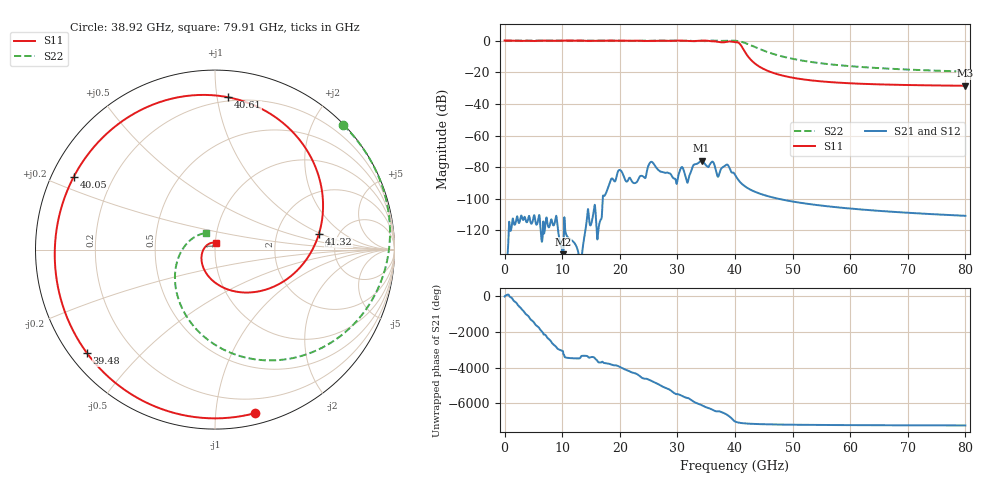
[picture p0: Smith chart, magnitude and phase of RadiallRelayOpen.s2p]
# Hz S DB R 50
!Touchstone multiport model file <C:\work\PySI\TestSignalIntegrity\OysterSimulation\ResampledSimbeor\RadiallRelayOpen.s2p>
!Created on 22 Aug 18, at 17:55:35.
!Created with Simbeor THz 2018.01(64bit) of Simberian Inc. built on Jul 20 2018
!Output from MultiportParameters of Simbeor.
!Multiport parameters: DataOrigin=Simulation DataOriginName="Project(1).RadiallRelayOpen_resampled.LNS"
!RESAMPLED_RCM: Max_RMS_Error=0.00625252; FrqLow=0; FrqHigh=4e+10; MaxTimeResolution=1.25e-11; PassivityState=1; ReciprocityState=1; DataSource="°Ðl°n"
!RATIONAL COMPACTOR: Precision: Normal; Extract Delay: ON; Extrapolate to DC: ON; Extrapolate to Infinity: OFF; Enforce Passivity: ON; Enforce Reciprocity: ON; Band Limit Factor: 1; Auto-Adjust Config: OFF
!Uncomment the following lines with keywords in square brakets to support IBIS forum specification 2.0.
![Version] 2.0 !This line should be the first in file, preceeding the line starting with #.
![Number of Ports] 2
![Number of Frequencies] 8001
![Two-Port Data Order] 21_12
![Reference] 50 50
!!!!Multiport descriptor profile: InputCount=2 TotalPortCount=2
!DescriptorOutline={DescriptorType=SMatrix InputSpace=Terminal NormalizationType=CommonZo NormalizationCommonZo=50 Ohm OutputFormat=DBMagnitudeAngle}
!InputProfile={Name="IO1" IsTLineInput=False InputNumber=1 PortCount=1 FirstPortNumber=1 InputSpace=Terminal BlockType=SBlock NormalizationType=CommonZo Zo=50}
!InputProfile={Name="IO2" IsTLineInput=False InputNumber=2 PortCount=1 FirstPortNumber=2 InputSpace=Terminal BlockType=SBlock NormalizationType=CommonZo Zo=50}
!!!Global port number to input_name/local_port_number correspondence:
!Port 1 -> "IO1"/local_port_1 (terminal)
!Port 2 -> "IO2"/local_port_1 (terminal)
!!!!End of descriptor profile.
!Frequency Hz 20.0*log(|S[1,1]|) arg(S[1,1]) 20.0*log(|S[2,1]|) arg(S[2,1]) 20.0*log(|S[1,2]|) arg(S[1,2]) 20.0*log(|S[2,2]|) arg(S[2,2])
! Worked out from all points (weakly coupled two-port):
!   8000 points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, 10 MHz to 80 GHz, reference 50 ohm
!   highest |S21| = -75.91 dB at 34.2 GHz (marker M1); lowest = -151.2 dB at 10.17 GHz (marker M2)
!   lowest |S11| = -28.6 dB at 80 GHz (marker M3), VSWR 1.08, Z = 50.4 + j3.73 ohm
!   |S11| at or under -10 dB: 42.26 GHz to end of sweep
!   |S22| runs from -19.6 to 0.1 dB; largest |S21 - S12| = 7e-18
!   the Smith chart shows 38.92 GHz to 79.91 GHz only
!   S11 on the Smith chart (normalised r, x): 38.92 GHz: 0.08, -1.27; 39.48 GHz: 0.05, -0.35; 40.05 GHz: 0.06, +0.24; 40.61 GHz: 0.17, +1.08; 41.32 GHz: 3.55, +0.94; 79.91 GHz: 1.01, +0.07
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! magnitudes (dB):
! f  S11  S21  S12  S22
! 10 MHz  0.0  -151.0  -151.0  0.0
! 10.17 GHz  0.0  -151.2  -151.2  0.0
! 13.35 GHz  0.0  -139.6  -139.6  -0.1
! 24.49 GHz  -0.3  -86.5  -86.5  -0.1
! 25.51 GHz  -0.3  -76.6  -76.6  -0.1
! 26.68 GHz  -0.1  -81.7  -81.7  0.0
! 32.25 GHz  -0.3  -84.0  -84.0  -0.1
! 34.2 GHz  -0.1  -75.9  -75.9  -0.1
! 35.18 GHz  -0.1  -79.5  -79.5  -0.2
! 36.02 GHz  -0.4  -76.6  -76.6  0.0
! 38.92 GHz  -0.6  -79.5  -79.5  0.0
! 39.48 GHz  -0.8  -83.4  -83.4  0.0
! 40.01 GHz  -1.1  -84.8  -84.8  -0.1
! 40.05 GHz  -1.1  -85.0  -85.0  -0.1
! 40.61 GHz  -1.4  -88.2  -88.2  -0.4
! 41.32 GHz  -4.7  -91.0  -91.0  -1.0
! 42.99 GHz  -13.0  -94.8  -94.8  -3.4
! 45.22 GHz  -18.4  -97.8  -97.8  -6.7
! 53.34 GHz  -25.2  -103.5  -103.5  -13.6
! 66.67 GHz  -27.8  -108.0  -108.0  -17.8
! 79.91 GHz  -28.6  -110.7  -110.7  -19.6
! 80 GHz  -28.6  -110.8  -110.8  -19.6
